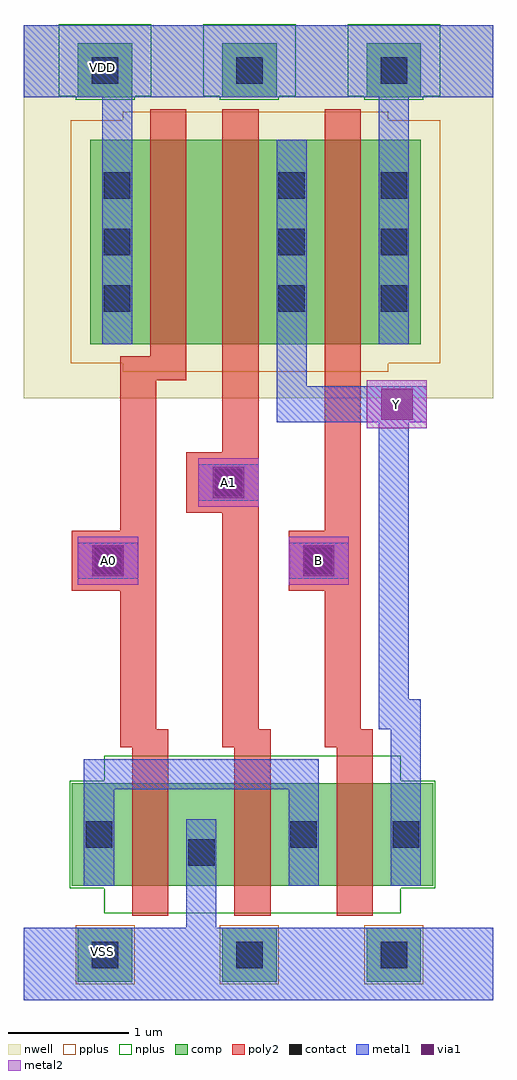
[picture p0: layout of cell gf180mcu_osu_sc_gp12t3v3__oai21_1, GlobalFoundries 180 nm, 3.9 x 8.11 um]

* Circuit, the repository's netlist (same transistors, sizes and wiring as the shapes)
* Copyright 2022 Google LLC
*
* Licensed under the Apache License, Version 2.0 (the "License");
* you may not use this file except in compliance with the License.
* You may obtain a copy of the License at
*
*      http://www.apache.org/licenses/LICENSE-2.0
*
* Unless required by applicable law or agreed to in writing, software
* distributed under the License is distributed on an "AS IS" BASIS,
* WITHOUT WARRANTIES OR CONDITIONS OF ANY KIND, either express or implied.
* See the License for the specific language governing permissions and
* limitations under the License.

.inc "/import/yukari1/lrburle/OSU_180/char/techfiles/design.hspice"
.lib "/import/yukari1/lrburle/OSU_180/char/techfiles/sm141064.hspice" typical

.GLOBAL VDD
.GLOBAL VSS

.option scale=0.05u

.subckt gf180mcu_osu_sc_gp12t3v3__oai21_1 Y A0 A1 B
X0 Y B a_8_19 VSS nmos_3p3 w=17 l=6
X1 VSS A0 a_8_19 VSS nmos_3p3 w=17 l=6
X2 a_27_109 A0 VDD VDD pmos_3p3 w=34 l=6
X3 VDD B Y VDD pmos_3p3 w=34 l=6
X4 Y A1 a_27_109 VDD pmos_3p3 w=34 l=6
X5 a_8_19 A1 VSS VSS nmos_3p3 w=17 l=6
.ends

** hspice subcircuit dictionary

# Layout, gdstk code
import gdstk
lib = gdstk.Library(unit=1e-6, precision=1e-09)
def R(c, l, rs):  # rectangles x0, y0, x1, y1
    for r in rs: c.add(gdstk.rectangle(r[:2], r[2:], *l))
def A(c, l, x, y, w, h, nx, ny, dx, dy):  # array of equal rectangles
    R(c, l, [(x+i*dx, y+j*dy, x+i*dx+w, y+j*dy+h) for i in range(nx) for j in range(ny)])
nwell = (21, 0)
comp = (22, 0)
poly2 = (30, 0)
pplus = (31, 0)
nplus = (32, 0)
contact = (33, 0)
metal1 = (34, 0)
via1 = (35, 0)
metal2 = (36, 0)

gf180mcu_osu_sc_gp12t3v3 = lib.new_cell('gf180mcu_osu_sc_gp12t3v3__oai21_1')
R(gf180mcu_osu_sc_gp12t3v3, nwell, [(0,5,3.9,8.1)])
A(gf180mcu_osu_sc_gp12t3v3, comp, 0.45, 0.15, 0.45, 0.45, 3, 2, 1.2, 7.35)
R(gf180mcu_osu_sc_gp12t3v3, comp, [(0.4,0.95,3.4,1.8), (0.55,5.45,3.3,7.15)])
A(gf180mcu_osu_sc_gp12t3v3, poly2, 0.9, 0.7, 0.3, 1.4, 3, 1, 0.85, 0)
A(gf180mcu_osu_sc_gp12t3v3, poly2, 0.8, 2.1, 0.4, 0.15, 3, 1, 0.85, 0)
R(gf180mcu_osu_sc_gp12t3v3, poly2, [(0.8,2.25,1.1,3.4), (1.65,2.25,1.95,4.05), (2.5,2.25,2.8,3.4), (0.4,3.4,1.1,3.9), (2.2,3.4,2.8,3.9), (0.8,3.9,1.1,5.15), (2.5,3.9,2.8,7.4), (1.35,4.05,1.95,4.55), (1.65,4.55,1.95,7.4), (0.8,5.15,1.35,5.35), (1.05,5.35,1.35,7.4)])
A(gf180mcu_osu_sc_gp12t3v3, pplus, 0.43, 0.13, 0.49, 0.49, 3, 1, 1.2, 0)
R(gf180mcu_osu_sc_gp12t3v3, pplus, [(0.82,5.22,3.03,5.29), (0.39,5.29,3.46,7.31), (0.82,7.31,3.03,7.38)])
A(gf180mcu_osu_sc_gp12t3v3, nplus, 0.43, 7.48, 0.49, 0.03, 3, 1, 1.2, 0)
A(gf180mcu_osu_sc_gp12t3v3, nplus, 0.29, 7.51, 0.77, 0.6, 3, 1, 1.2, 0)
R(gf180mcu_osu_sc_gp12t3v3, nplus, [(0.67,0.72,3.13,0.93), (0.38,0.93,3.42,1.82), (0.67,1.82,3.13,2.03)])
A(gf180mcu_osu_sc_gp12t3v3, contact, 0.565, 0.265, 0.22, 0.22, 3, 2, 1.2, 7.35)
A(gf180mcu_osu_sc_gp12t3v3, contact, 0.665, 5.72, 0.22, 0.22, 1, 3, 0, 0.47)
A(gf180mcu_osu_sc_gp12t3v3, contact, 2.115, 5.72, 0.22, 0.22, 1, 3, 0, 0.47)
A(gf180mcu_osu_sc_gp12t3v3, contact, 2.965, 5.72, 0.22, 0.22, 1, 3, 0, 0.47)
R(gf180mcu_osu_sc_gp12t3v3, contact, [(1.365,1.115,1.585,1.335), (0.515,1.265,0.735,1.485), (2.215,1.265,2.435,1.485), (3.065,1.265,3.285,1.485), (0.59,3.54,0.81,3.76), (2.34,3.54,2.56,3.76), (1.59,4.19,1.81,4.41)])
R(gf180mcu_osu_sc_gp12t3v3, metal1, [(0,0,3.9,0.6), (1.35,0.6,1.6,1.5), (0.5,0.95,0.75,1.75), (2.2,0.95,2.45,1.75), (3.05,0.95,3.3,2.25), (0.5,1.75,2.45,2), (2.95,2.25,3.3,2.5), (2.95,2.5,3.2,4.8), (0.45,3.5,0.95,3.8), (2.2,3.5,2.7,3.8), (1.45,4.15,1.95,4.45), (2.1,4.8,3.35,5.1), (2.1,5.1,2.35,7.15), (0.65,5.45,0.9,7.5), (2.95,5.45,3.2,7.5), (0,7.5,3.9,8.1)])
R(gf180mcu_osu_sc_gp12t3v3, via1, [(0.57,3.52,0.83,3.78), (2.32,3.52,2.58,3.78), (1.57,4.17,1.83,4.43), (2.97,4.82,3.23,5.08)])
R(gf180mcu_osu_sc_gp12t3v3, metal2, [(0.45,3.45,0.95,3.85), (2.2,3.45,2.7,3.85), (1.45,4.1,1.95,4.5), (2.85,4.75,3.35,5.15)])
gf180mcu_osu_sc_gp12t3v3.add(gdstk.Label('VDD', (0.65,7.75), layer=34, texttype=0))
gf180mcu_osu_sc_gp12t3v3.add(gdstk.Label('VSS', (0.65,0.4), layer=34, texttype=0))
gf180mcu_osu_sc_gp12t3v3.add(gdstk.Label('Y', (3.1,4.95), layer=36, texttype=10))
gf180mcu_osu_sc_gp12t3v3.add(gdstk.Label('A0', (0.7,3.65), layer=36, texttype=10))
gf180mcu_osu_sc_gp12t3v3.add(gdstk.Label('A1', (1.7,4.3), layer=36, texttype=10))
gf180mcu_osu_sc_gp12t3v3.add(gdstk.Label('B', (2.45,3.65), layer=36, texttype=10))

lib.write_gds('gf180mcu_osu_sc_gp12t3v3__oai21_1.gds')
